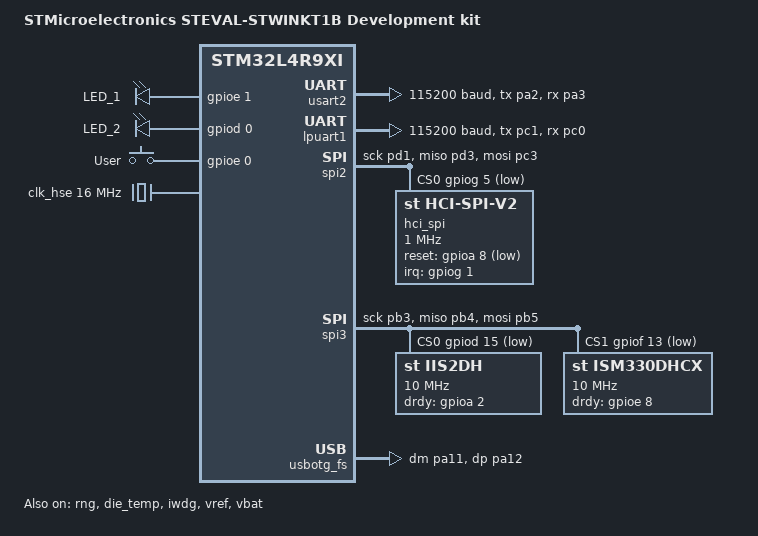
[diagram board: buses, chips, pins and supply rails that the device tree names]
/*
 * Copyright (c) 2024 STMicroelectronics
 *
 * SPDX-License-Identifier: Apache-2.0
 */
/dts-v1/;
#include <st/l4/stm32l4r9Xi.dtsi>
#include <st/l4/stm32l4r9z(g-i)jx-pinctrl.dtsi>
#include <zephyr/dt-bindings/input/input-event-codes.h>

/ {
	model = "STMicroelectronics STEVAL-STWINKT1B Development kit";
	compatible = "st,steval_stwinkt1b";

	chosen {
		zephyr,sram = &sram0;
		zephyr,flash = &flash0;
		zephyr,code-partition = &slot0_partition;
		zephyr,bt-hci = &hci_spi;
	};

	leds {
		compatible = "gpio-leds";
		green_led: led_1 {
			gpios = <&gpioe 1 GPIO_ACTIVE_HIGH>;
			label = "LED_1";
		};
		orange_led: led_2 {
			gpios = <&gpiod 0 GPIO_ACTIVE_HIGH>;
			label = "LED_2";
		};
	};
// 	pwmleds {
// 		compatible = "pwm-leds";
// 
// 		green_pwm_led: green_pwm_led {
// 			pwms = <&pwm5 3 PWM_MSEC(20) PWM_POLARITY_NORMAL>;
// 			label = "LED_1 - PWM5";
// 		};
// 	};

	gpio_keys {
		compatible = "gpio-keys";
		user_button: button {
			label = "User";
			gpios = <&gpioe 0 GPIO_ACTIVE_HIGH>;
			zephyr,code = <INPUT_KEY_0>;
		};
	};

	aliases {
		led0 = &green_led;
		led1 = &orange_led;
// 		pwm-led0 = &green_pwm_led;
		sw0 = &user_button;
		mcuboot-led0 = &green_led;
		mcuboot-button0 = &user_button;
		watchdog0 = &iwdg;
		die-temp0 = &die_temp;
		volt-sensor0 = &vref; // based on stm32l4r9i_disco
		volt-sensor1 = &vbat; // based on stm32l4r9i_disco
// 		volt-sensor0 = &vref1;
// 		volt-sensor1 = &vbat4;
	};
};

&clk_hsi48 {
	status = "okay";
};

&clk_hse {
	clock-frequency = <DT_FREQ_M(16)>;
	status = "okay";
};

&clk_lse {
	status = "okay";
};

// not sure, stm32l4r9i_disco has this but msi
&clk_msi {
	status = "okay";
// 	msi-range = <4>;
	msi-range = <6>; // <6> in stm32l4r9i_disco
    msi-pll-mode;
};


// from zephyr/dts/bindings/clock/st,stm32l4-pll-clock.yaml
// It can be used to describe 3 different PLLs: PLL, PLLSAI1 and PLLSAI2. Only main PLL is supported for now.
&pll {
    status = "okay";
    div-m = <1>;
    mul-n = <60>;
    /*
     * WORKAROUND: stm32l4-pll-clock does not allow arbitrary PLLP dividers.
     * Disable PLLP completely since it only feeds SAI, which is not active either.
     */
    /* div-p = <5>; */
    div-q = <2>;
    div-r = <2>;
    clocks = <&clk_msi>;
};

&rcc {
	clocks = <&pll>;
	clock-frequency = <DT_FREQ_M(120)>;
	ahb-prescaler = <1>;
	apb1-prescaler = <1>;
	apb2-prescaler = <1>;
};

// &gpioe {
// 	status = "okay";
// 
// 	/* Enable 2.7V Analog LDO */
// 	ldo-enable-gpios {
// 		gpio-hog;
// 		gpios = <15 GPIO_ACTIVE_HIGH>;
// 		output-high;
// 	};
// };

// stm32_lp_tick_source: &lptim1 {
// 	clocks = <&rcc STM32_CLOCK_BUS_APB3 0x00000800>,
// 		<&rcc STM32_SRC_LSE LPTIM1_SEL(3)>;
// 	status = "okay";
// };

&usart2 {
	status = "okay";
	pinctrl-0 = <&usart2_tx_pa2 &usart2_rx_pa3>;
	pinctrl-names = "default";
	current-speed = <115200>;
};

&lpuart1 {
	status = "okay";
	pinctrl-0 = <&lpuart1_tx_pc1 &lpuart1_rx_pc0>;
	pinctrl-names = "default";
	current-speed = <115200>;
};

&spi2 { // for BlueNRG-2
// 	pinctrl-0 = <&spi2_sck_pb13 &spi2_miso_pb14 &spi2_mosi_pb15>; //ref
	pinctrl-0 = <&spi2_sck_pd1 &spi2_miso_pd3 &spi2_mosi_pc3>;
    pinctrl-names = "default";
	status = "okay";
    cs-gpios = <&gpiog 5 GPIO_ACTIVE_LOW>; // BlueNRG-2 ..spi1_nss, this may not work ,because PG5 is SPI1_NSS
    hci_spi: bluenrg-2@0 {
        compatible = "st,hci-spi-v2";
        reg = <0>;
        reset-gpios = <&gpioa 8 GPIO_ACTIVE_LOW>;
        irq-gpios = <&gpiog 1 (GPIO_ACTIVE_HIGH | GPIO_PULL_DOWN)>;
        spi-cpha; /* CPHA=1 */
        spi-hold-cs;
        spi-max-frequency = <DT_FREQ_M(1)>;
        reset-assert-duration-ms = <6>;
    };
};

&spi3 { // for IIS3DWB (vibrometer) , IIS2DH (3D accelerometer), ISM330DHCX (6-axis IMU)
    status = "okay"; 
    pinctrl-0 = <&spi3_sck_pb3 &spi3_miso_pb4 &spi3_mosi_pb5>;
    pinctrl-names = "default";

    cs-gpios = <&gpiod 15 GPIO_ACTIVE_LOW>, // IIS2DH
                <&gpiof 13 GPIO_ACTIVE_LOW>;  // ISM330DHCX

//            <&gpiof 13 GPIO_ACTIVE_LOW>,  // ISM330DHCX
//            <&gpiof 5 GPIO_ACTIVE_LOW>;   // IIS3DWB

    iis2dh: iis2dh@0 { // 3D accelerometer
        compatible = "st,iis2dh";
        spi-max-frequency = <DT_FREQ_M(10)>;
        reg = <0>;
        drdy-gpios = <&gpioa 2 (GPIO_ACTIVE_HIGH | GPIO_PULL_DOWN)>; // INT2_DH
        status = "okay";
    };

    ism330dhcx: ism330dhcx@1 { // 6-axis IMU
        compatible = "st,ism330dhcx";
        spi-max-frequency = <DT_FREQ_M(10)>;
        reg = <1>;
        drdy-gpios = <&gpioe 8 (GPIO_ACTIVE_HIGH | GPIO_PULL_DOWN)>;  // INT1_DHC
        int-pin = <1>;
        status = "okay";
    };
};

//     iis3dwb: iis3dwb@0 { // vibrometer
//         compatible = "st,iis3dwb"; // TODO: there is not compatible in the driver
//                                     // check this: https://github.com/zephyrproject-rtos/zephyr/pull/40705
//         spi-max-frequency = <DT_FREQ_M(10)>;
//         reg = <0>;
//         drdy-gpios = <&gpioe 14 (GPIO_ACTIVE_HIGH | GPIO_PULL_DOWN)>;
//         status = "okay";
//     };



/// TODO: modify and add this sensors
// &i2c2 {
// 	pinctrl-0 = <&i2c2_scl_ph4 &i2c2_sda_pf0>;
// 	pinctrl-names = "default";
// 	status = "okay";
// 	clock-frequency = <I2C_BITRATE_FAST>;
// 
// 	stts22h@3f {
// 		compatible = "st,stts22h";
// 		reg = <0x3f>;
// 		int-gpios = <&gpiof 5 GPIO_ACTIVE_HIGH>;
// 		status = "okay";
// 	};
// 
// 	iis2mdc@1e {
// 		compatible = "st,iis2mdc";
// 		reg = <0x1e>;
// 		drdy-gpios = <&gpiof 9 GPIO_ACTIVE_HIGH>;
// 		status = "okay";
// 	};
// 
// 	ilps22qs@5c {
// 		compatible = "st,ilps22qs";
// 		reg = <0x5c>;
// 		status = "okay";
// 	};
// };


// TODO: no idea if i need this
// &timers5 {
// 	status = "okay";
// 
// 	pwm5: pwm {
// 		status = "okay";
// 		pinctrl-0 = <&tim5_ch2_pa1 &tim5_ch4_pi0>;
// 		pinctrl-names = "default";
// 	};
// };

// NO hardware AES
// this has no aes
// &aes {
// 	status = "okay";
// };

&rng {
	status = "okay";
};

zephyr_udc0: &usbotg_fs {
	pinctrl-0 = <&usb_otg_fs_dm_pa11 &usb_otg_fs_dp_pa12>;
	pinctrl-names = "default";
	status = "okay";
};

/* checkpoint */
// ref:~/Documents/git/stwin_AI_vowel_recognition/deployment/Drivers/BSP/STWIN/STWIN_motion_sensors.c
//     ~/Documents/git/stwin_AI_vowel_recognition/deployment/Core/Inc/STWIN_conf.h
// zephyr/dts/arm/st/l4/stm32l4.dtsi  -- Current base chip
// zephyr/dts/arm/st/u5/stm32u5.dtsi -- from the new stwink board


// TODO: include adc
// #include <../boards/common/usb/cdc_acm_serial.dtsi>
// 
// &adc1 {
// 	pinctrl-0 = <&adc1_in1_pc0>;
// 	pinctrl-names = "default";
// 	st,adc-clock-source = "ASYNC";
// 	st,adc-prescaler = <4>;
// 	vref-mv = <2750>;
// 	status = "okay";
// };
// 
// &adc4 {
// 	pinctrl-0 = <&adc4_in3_pc2>;
// 	pinctrl-names = "default";
// 	st,adc-clock-source = "ASYNC";
// 	st,adc-prescaler = <4>;
// 	vref-mv = <2750>;
// 	status = "okay";
// };
// 
&die_temp { // internal Temperature sensor
	status = "okay";
};

&iwdg { // Independent Watchdog
	status = "okay";
};

&vref { // Voltage reference, provides a stable voltage for ADC
	status = "okay";
};

&vbat { // Internal battery voltage sensor
	status = "okay";
};

// TODO: SD card
// &sdmmc1 {
// 	status = "okay";
// 	pinctrl-0 = <&sdmmc1_d0_pc8 &sdmmc1_d1_pc9
// 		&sdmmc1_d2_pc10 &sdmmc1_d3_pc11
// 		&sdmmc1_ck_pc12 &sdmmc1_cmd_pd2>;
// 	pinctrl-names = "default";
// 	cd-gpios = <&gpiog 1 GPIO_ACTIVE_LOW>;
// 	bus-width = <4>;
// 	clk-div = <4>;
// };

&flash0 {
	partitions {
		compatible = "fixed-partitions";
		#address-cells = <1>;
		#size-cells = <1>;

		/*
		 * Following flash partition is dedicated to the use of steval_stwinkt1b
		 * with TZEN=0 (so w/o TFM).
		 * Set the partitions with first MB to make use of the whole Bank1
		 */
		boot_partition: partition@0 {
			label = "mcuboot";
			reg = <0x00000000 DT_SIZE_K(64)>;
		};
		slot0_partition: partition@10000 {
			label = "image-0";
			reg = <0x00010000 DT_SIZE_K(416)>;
		};
		slot1_partition: partition@78000 {
			label = "image-1";
			reg = <0x00078000 DT_SIZE_K(416)>;
		};
		scratch_partition: partition@e0000 {
			label = "image-scratch";
			reg = <0x000e0000 DT_SIZE_K(64)>;
		};
		storage_partition: partition@f0000 {
			label = "storage";
			reg = <0x000f0000 DT_SIZE_K(64)>; // 1MB in total
		};

	};
};

// &dma1 {
// 	status = "okay";
// };
